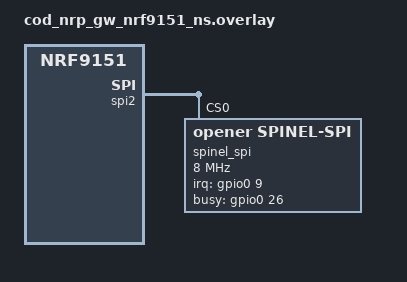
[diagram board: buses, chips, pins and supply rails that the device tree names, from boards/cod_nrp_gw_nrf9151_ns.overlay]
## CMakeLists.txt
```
# Copyright (c) 2026 Codium Electronique
# SPDX-License-Identifier: Apache-2.0

cmake_minimum_required(VERSION 3.20.0)

find_package(Zephyr REQUIRED HINTS $ENV{ZEPHYR_BASE})
project(dectnrp_spinel)

target_sources(app PRIVATE
    src/main.c
)
```

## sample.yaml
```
sample:
  name: dectnrp-spinel
  description: DECT NR+ radio co-processor controlled over Spinel
tests:
  sample.dectnrp_spinel:
    platform_allow:
      - nrf9151dk/nrf9151/ns
      - nrf9131ek/nrf9131/ns
      - cod_nrp_gw/nrf9151/ns
```

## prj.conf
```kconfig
# Copyright (c) 2026 Codium Electronique
# SPDX-License-Identifier: Apache-2.0

CONFIG_KERNEL_BIN_NAME="sample-dectnrp-spinel"

#Enable thread awareness for debugging tools supporting it
CONFIG_DEBUG_THREAD_INFO=y
CONFIG_ASSERT=y

CONFIG_TFM_PROFILE_TYPE_MINIMAL=y

CONFIG_NETWORKING=y

# The nRF91 driver sends the first fragment of a TX packet only, so one
# buffer must hold a whole frame: type 2 physical header (10) + MTU (1024).
# One TX packet per Spinel op slot; received frames do not use net_pkt.
CONFIG_NET_BUF_DATA_SIZE=1034
CONFIG_NET_BUF_TX_COUNT=8
CONFIG_NET_PKT_TX_COUNT=8
CONFIG_NET_BUF_RX_COUNT=2
CONFIG_NET_PKT_RX_COUNT=2

# Kernel options
CONFIG_HEAP_MEM_POOL_SIZE=2048

# The console and log backends are in the board files: RTT where Spinel
# takes the console UART.
CONFIG_LOG=y

CONFIG_DECTNRP_DRIVER_NRF91X1=y
CONFIG_DECTNRP_DRIVER_NRF91X1_CAP_LOGGING=n
CONFIG_DECTNRP_DRIVER_SCHEDULED_API=y
CONFIG_DECTNRP_DRIVER_BLOCKING_API=n

# The devicetree picks the transport: SPI with an opener,spinel-spi node,
# else the UART chosen as opener,spinel-uart.
CONFIG_DECTNRP_SPINEL=y
```

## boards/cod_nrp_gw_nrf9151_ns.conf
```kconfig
# Copyright (c) 2026 Codium Electronique
# SPDX-License-Identifier: Apache-2.0

CONFIG_NRF_MODEM_LIB=y
CONFIG_MODEM_ANTENNA=n
CONFIG_NRF_MODEM_LINK_BINARY_DECT_PHY=y

# Spinel runs on SPI: the console and the logs stay on uart0, read by the
# gateway on /dev/ttyS3.
CONFIG_UART_CONSOLE=y
CONFIG_LOG_BACKEND_UART=y
```

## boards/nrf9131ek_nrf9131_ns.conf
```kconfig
# Copyright (c) 2026 Codium Electronique
# SPDX-License-Identifier: Apache-2.0

CONFIG_NRF_MODEM_LIB=y
CONFIG_MODEM_ANTENNA=n
CONFIG_NRF_MODEM_LINK_BINARY_DECT_PHY=y

# Spinel runs on uart0, the console UART: console and logs go to RTT.
CONFIG_USE_SEGGER_RTT=y
CONFIG_LOG_BACKEND_RTT=y
CONFIG_SEGGER_RTT_BUFFER_SIZE_UP=4096
CONFIG_LOG_BACKEND_RTT_MODE_OVERWRITE=y
CONFIG_UART_CONSOLE=n
CONFIG_RTT_CONSOLE=y
CONFIG_LOG_BACKEND_UART=n
```

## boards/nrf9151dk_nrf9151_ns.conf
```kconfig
# Copyright (c) 2026 Codium Electronique
# SPDX-License-Identifier: Apache-2.0

CONFIG_NRF_MODEM_LIB=y
CONFIG_MODEM_ANTENNA=n
CONFIG_NRF_MODEM_LINK_BINARY_DECT_PHY=y
```

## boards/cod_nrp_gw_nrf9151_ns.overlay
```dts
/*
 * Copyright (c) 2026 Codium Electronique
 * SPDX-License-Identifier: Apache-2.0
 */

#include "nrf91x1_partition_without_bootloader.dtsi"
#include "nrf91x1_dect_modem.dtsi"

/* Spinel over SPI to the gateway's Linux host (spi3.0 on its side). */
&spi2 {
	/* Clocked while the SPI slave is not armed: an invalid header. */
	def-char = <0xff>;
	/* The SPI slave uses its CSN pin; a CS GPIO would drive P0.05. */
	/delete-property/ cs-gpios;

	spinel_spi: spinel@0 {
		compatible = "opener,spinel-spi";
		reg = <0>;
		spi-max-frequency = <8000000>;
		irq-gpios = <&gpio0 9 GPIO_ACTIVE_HIGH>;
		busy-gpios = <&gpio0 26 GPIO_ACTIVE_HIGH>;
	};
};
```

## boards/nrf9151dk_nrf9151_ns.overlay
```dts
/*
 * Copyright (c) 2026 Codium Electronique
 * SPDX-License-Identifier: Apache-2.0
 */

#include "nrf91x1_partition_without_bootloader.dtsi"
#include "nrf91x1_dect_modem.dtsi"

/ {
	chosen {
		opener,spinel-uart = &uart0;
	};
};

&uart0 {
	current-speed = <1000000>;
	/* Without it, the UARTE loses received bytes when its interrupt is served
	 * late, about one host frame in 4000 at 1 Mbaud. The interface MCU of
	 * the DK and EK follows RTS.
	 */
	hw-flow-control;
};
```

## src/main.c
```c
/*
 * Copyright (c) 2026 Codium Electronique
 * SPDX-License-Identifier: Apache-2.0
 */

#include <zephyr/logging/log.h>

LOG_MODULE_REGISTER(dectnrp_spinel_sample, LOG_LEVEL_INF);

int main(void)
{
	/* The Spinel interface starts on its own; the host drives the radio. */
	LOG_INF("DECT NR+ Spinel radio co-processor ready");

	return 0;
}
```
